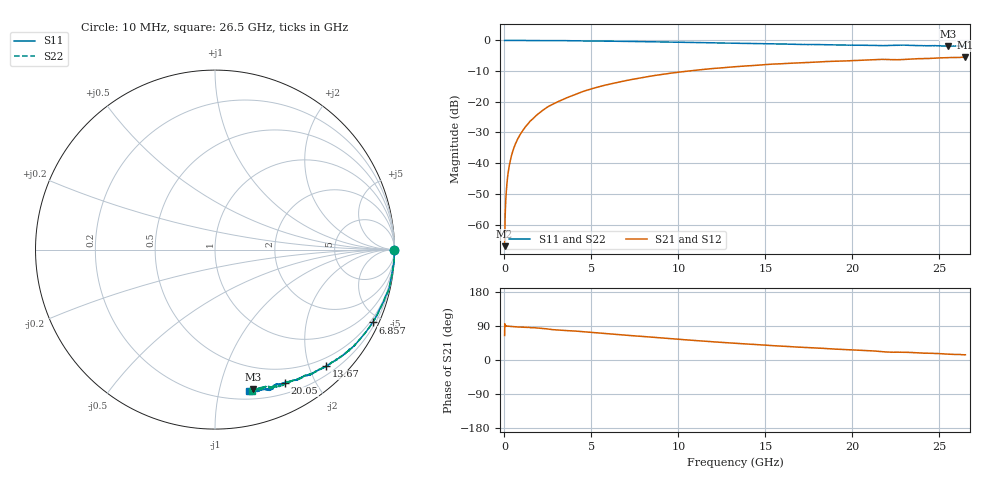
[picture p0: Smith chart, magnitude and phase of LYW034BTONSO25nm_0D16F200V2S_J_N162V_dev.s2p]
!Keysight Technologies,N5222B,MY61253708,A.15.00.15
!Date: Wednesday, June 19, 2024 10:18:42
!Correction: S11(C  2-Port  )
!S21(C  2-Port  )
!S12(C  2-Port  )
!S22(C  2-Port  )
!S2P File: Measurements: S11, S21, S12, S22:
# Hz S  RI  R 50
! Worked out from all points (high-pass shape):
!   2651 points, 10 MHz to 26.5 GHz, reference 50 ohm
!   highest |S21| = -5.43 dB at 26.5 GHz (marker M1); lowest = -67.1 dB at 10 MHz (marker M2)
!   |S21| within 3 dB of the highest: 13.58 GHz to end of sweep
!   lowest |S11| = -1.9 dB at 25.5 GHz (marker M3), VSWR 9.24, Z = 14.4 - j63.4 ohm
!   |S11| at or under -10 dB: nowhere
!   |S22| runs from -1.8 to 0.0 dB; largest |S21 - S12| = 0.006
!   S11 on the Smith chart (normalised r, x): 10 MHz: open; 6.857 GHz: 0.36, -4.52; 13.67 GHz: 0.35, -2.29; 20.05 GHz: 0.32, -1.61; 26.5 GHz: 0.27, -1.24
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1e7  0.9983 -0.00299  0.000191 0.0004  2.14e-05 0.000469  0.9983 -0.00167
6.997736e7  1 -0.00505  1.61e-05 0.00229  2.31e-05 0.00231  0.9997 -0.00482
1.699396e8  0.9999 -0.0115  6.5e-05 0.00558  7.5e-05 0.00558  0.9997 -0.011
2.199208e8  1 -0.0147  9.1e-05 0.00718  0.000111 0.0072  0.9994 -0.014
2.798981e8  0.9998 -0.0187  0.000202 0.00917  0.000185 0.0092  0.9998 -0.0181
3.898566e8  0.9996 -0.0263  0.000342 0.0128  0.000352 0.0128  0.9994 -0.0253
5.198075e8  0.9988 -0.034  0.000557 0.0169  0.000565 0.017  0.9991 -0.0336
6.797472e8  0.9985 -0.0442  0.000958 0.0222  0.00093 0.0222  0.9987 -0.044
8.796717e8  0.9979 -0.0575  0.00158 0.0285  0.00161 0.0286  0.9973 -0.057
1.469449e9  0.991 -0.0972  0.00366 0.048  0.00364 0.048  0.9936 -0.0936
2.329125e9  0.9825 -0.1496  0.00964 0.0767  0.00979 0.077  0.9835 -0.1502
3.238781e9  0.9713 -0.2068  0.0208 0.1034  0.0209 0.1037  0.9723 -0.2058
4.428332e9  0.9443 -0.2768  0.0372 0.1396  0.0375 0.1401  0.9459 -0.2743
6.857415e9  0.8776 -0.406  0.0896 0.1986  0.0905 0.1989  0.8791 -0.4055
8.846664e9  0.8087 -0.4972  0.1415 0.2346  0.1425 0.2348  0.81 -0.4961
1.3255e10  0.6359 -0.6387  0.2671 0.2604  0.2687 0.2598  0.6388 -0.6378
1.367484e10  0.618 -0.6496  0.2783 0.2586  0.2797 0.2588  0.6228 -0.6492
1.767333e10  0.4663 -0.7204  0.373 0.2348  0.3758 0.2328  0.4749 -0.7181
2.005243e10  0.3892 -0.7442  0.4199 0.211  0.4216 0.2078  0.4004 -0.7426
2.209166e10  0.3314 -0.7561  0.4564 0.1744  0.4577 0.1712  0.3233 -0.7618
2.550038e10  0.212 -0.7762  0.5064 0.1389  0.5074 0.1382  0.2307 -0.7778
2.65e10  0.1922 -0.7902  0.52 0.1275  0.5192 0.1234  0.204 -0.788
